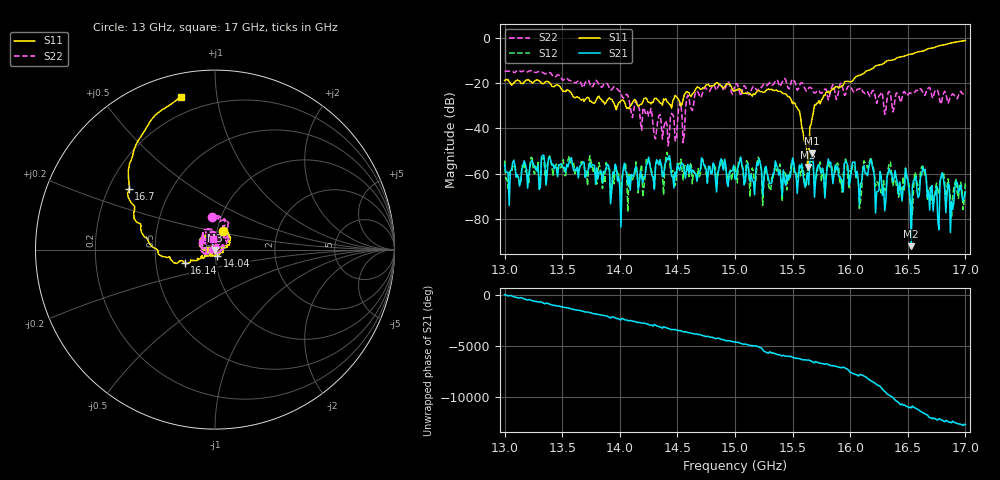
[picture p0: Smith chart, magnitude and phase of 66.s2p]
!Keysight Technologies,P9374A,MY57211807,A.19.30.04
!Date: Friday, May 01, 2026 14:23:30
!Correction: S11(C  2-Port  )
!S21(C  2-Port  )
!S12(C  2-Port  )
!S22(C  2-Port  )
!S2P File: Measurements: S11, S21, S12, S22:
# Hz S  RI  R 50
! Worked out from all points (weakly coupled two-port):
!   401 points, 13 GHz to 17 GHz, reference 50 ohm
!   highest |S21| = -51.05 dB at 15.67 GHz (marker M1); lowest = -92.0 dB at 16.53 GHz (marker M2)
!   lowest |S11| = -57.0 dB at 15.63 GHz (marker M3), VSWR 1.00, Z = 50 - j0.133 ohm
!   |S11| at or under -10 dB: start of sweep to 16.33 GHz
!   |S22| runs from -47.7 to -14.4 dB; largest |S21 - S12| = 0.001
!   S11 on the Smith chart (normalised r, x): 13 GHz: 1.06, +0.22; 14.04 GHz: 1.02, -0.08; 16.14 GHz: 0.70, -0.11; 16.7 GHz: 0.28, +0.29; 17 GHz: 0.11, +0.80
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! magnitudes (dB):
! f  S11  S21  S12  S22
! 13 GHz  -19.0  -56.0  -54.2  -14.9
! 13.67 GHz  -27.5  -55.5  -54.5  -20.9
! 14 GHz  -28.4  -66.3  -64.4  -23.6
! 14.04 GHz  -28.2  -55.3  -57.0  -26.0
! 14.09 GHz  -30.3  -67.3  -60.2  -30.1
! 14.34 GHz  -28.0  -56.1  -54.5  -34.3
! 15 GHz  -23.3  -62.4  -56.2  -20.7
! 15.45 GHz  -25.3  -60.6  -67.1  -20.6
! 15.63 GHz  -57.0  -59.6  -58.2  -23.2
! 15.67 GHz  -35.2  -51.1  -52.7  -22.6
! 16.02 GHz  -19.0  -54.9  -56.5  -23.2
! 16.08 GHz  -16.6  -73.9  -75.3  -22.6
! 16.14 GHz  -14.6  -59.8  -55.5  -24.0
! 16.29 GHz  -11.4  -66.1  -63.0  -29.5
! 16.34 GHz  -9.9  -57.8  -54.9  -23.7
! 16.53 GHz  -7.2  -92.0  -72.1  -24.6
! 16.63 GHz  -5.9  -56.9  -56.6  -24.0
! 16.7 GHz  -4.6  -65.8  -67.3  -23.2
! 16.75 GHz  -3.9  -65.7  -64.1  -23.0
! 16.8 GHz  -3.2  -59.6  -59.3  -26.6
! 16.88 GHz  -2.3  -72.3  -79.3  -25.2
! 17 GHz  -1.2  -68.1  -63.0  -24.3
